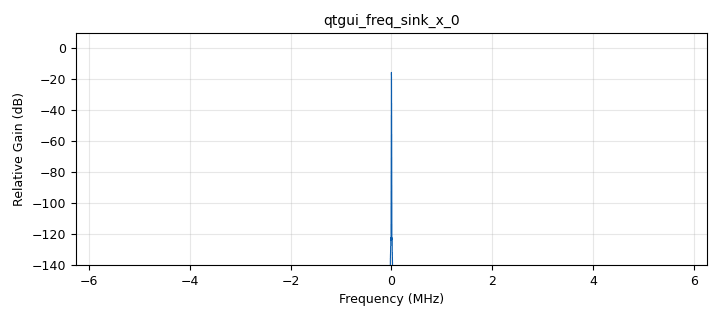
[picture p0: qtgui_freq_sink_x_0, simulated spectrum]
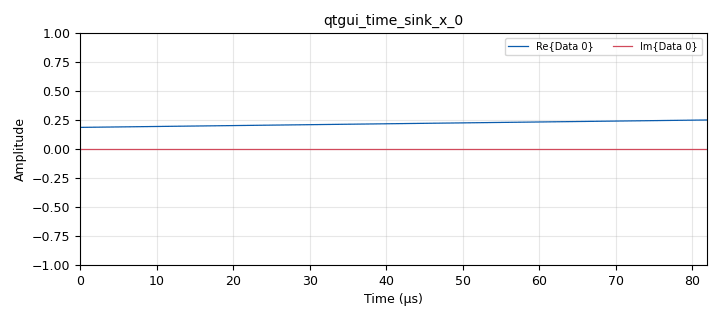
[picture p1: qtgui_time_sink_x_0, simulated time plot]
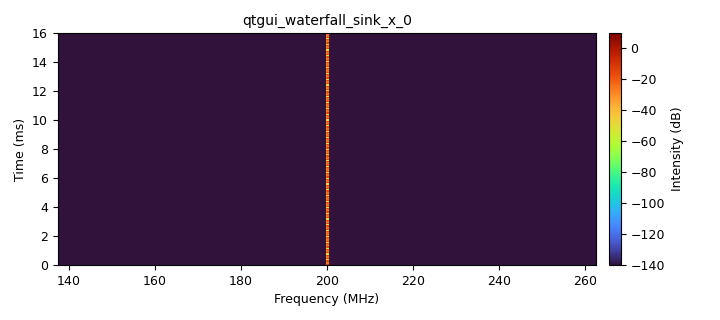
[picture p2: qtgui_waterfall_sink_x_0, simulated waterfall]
options:
  parameters:
    author: Jose Fonseca y Daniel TOrres
    copyright: UIS
    generate_options: qt_gui
    id: MisionE1C
    output_language: python
    title: Transmisor Lab
  states: {}

blocks:
- name: Ac
  id: variable_qtgui_range
  parameters:
    start: '0'
    step: '0.01'
    stop: '0.5'
    value: '0.25'
  states: {}
- name: Am
  id: variable_qtgui_range
  parameters:
    start: '0'
    step: '0.1'
    stop: '1'
    value: '1'
  states: {}
- name: Frecuencia
  id: variable_qtgui_range
  parameters:
    start: '100'
    step: '100'
    stop: '20000'
    value: '500'
  states: {}
- name: GTX
  id: variable_qtgui_range
  parameters:
    label: Ganancia TX
    start: '0'
    step: '1'
    stop: '30'
    value: '20'
  states: {}
- name: KA
  id: variable_qtgui_range
  parameters:
    start: '0'
    step: '0.1'
    stop: '3'
    value: '1'
  states: {}
- name: fc
  id: variable_qtgui_range
  parameters:
    label: frecuencia portadora
    start: '50'
    step: '1'
    stop: '2200'
    value: '200'
  states: {}
- name: samp_rate
  id: variable
  parameters:
    value: (25e6)/2
  states: {}
- name: analog_sig_source_x_0
  id: analog_sig_source_x
  parameters:
    amp: Am
    freq: Frecuencia
    offset: '0'
    phase: '0'
    samp_rate: samp_rate
    type: float
    waveform: analog.GR_SIN_WAVE
  states: {}
- name: analog_sig_source_x_0_0
  id: analog_sig_source_x
  parameters:
    amp: Am
    freq: Frecuencia
    offset: '0'
    phase: '0'
    samp_rate: samp_rate
    type: float
    waveform: analog.GR_SQR_WAVE
  states: {state: disabled}
- name: audio_sink_0
  id: audio_sink
  parameters:
    samp_rate: '44100'
  states: {state: disabled}
- name: blocks_add_const_vxx_0
  id: blocks_add_const_vxx
  parameters:
    const: '1'
    type: float
  states: {}
- name: blocks_float_to_complex_0
  id: blocks_float_to_complex
  parameters: {}
  states: {}
- name: blocks_multiply_const_vxx_0
  id: blocks_multiply_const_vxx
  parameters:
    const: KA
    type: float
  states: {}
- name: blocks_multiply_const_vxx_1
  id: blocks_multiply_const_vxx
  parameters:
    const: Ac
    type: complex
  states: {}
- name: blocks_wavfile_source_0
  id: blocks_wavfile_source
  parameters:
    file: /home/estudiante/Escritorio/Feid, ICON - FERXXO 151.mp3
    repeat: 'True'
  states: {state: disabled}
- name: qtgui_freq_sink_x_0
  id: qtgui_freq_sink_x
  parameters:
    bw: samp_rate
    fc: '0'
    fftsize: '8192'
    type: complex
  states: {}
- name: qtgui_time_sink_x_0
  id: qtgui_time_sink_x
  parameters:
    size: '1024'
    srate: samp_rate
    type: complex
  states: {}
- name: qtgui_waterfall_sink_x_0
  id: qtgui_waterfall_sink_x
  parameters:
    bw: '125000000'
    fc: fc*1e6
    fftsize: '8192'
    type: complex
  states: {}
- name: rational_resampler_xxx_0
  id: rational_resampler_xxx
  parameters:
    decim: '44100'
    interp: int(samp_rate)
    type: fff
  states: {state: disabled}
- name: uhd_usrp_sink_0
  id: uhd_usrp_sink
  parameters:
    ant0: '"TX/RX"'
    center_freq0: fc*1e6
    gain0: GTX
    samp_rate: samp_rate
    sync: pc_clock
    type: fc32
  states: {}

connections:
- [analog_sig_source_x_0, '0', blocks_multiply_const_vxx_0, '0']
- [blocks_add_const_vxx_0, '0', blocks_float_to_complex_0, '0']
- [blocks_float_to_complex_0, '0', blocks_multiply_const_vxx_1, '0']
- [blocks_multiply_const_vxx_0, '0', blocks_add_const_vxx_0, '0']
- [blocks_multiply_const_vxx_1, '0', qtgui_freq_sink_x_0, '0']
- [blocks_multiply_const_vxx_1, '0', qtgui_time_sink_x_0, '0']
- [blocks_multiply_const_vxx_1, '0', qtgui_waterfall_sink_x_0, '0']
- [blocks_multiply_const_vxx_1, '0', uhd_usrp_sink_0, '0']
- [blocks_wavfile_source_0, '0', audio_sink_0, '0']
- [blocks_wavfile_source_0, '0', rational_resampler_xxx_0, '0']

metadata:
  file_format: 1
  grc_version: v3.10.11.0-89-ga17f69e7
